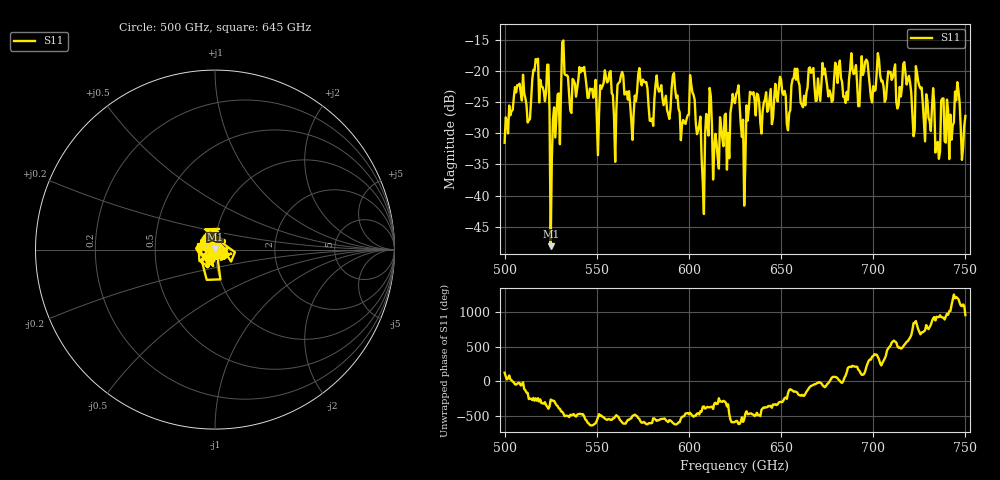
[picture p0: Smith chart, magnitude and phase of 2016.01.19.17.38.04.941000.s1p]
!Created with skrf (http://scikit-rf.org).
# GHz S RI R 50.0
!freq ReS11 ImS11
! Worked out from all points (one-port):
!   401 points, 500 GHz to 750 GHz, reference 50 ohm
!   lowest |S11| = -48.1 dB at 525 GHz (marker M1), VSWR 1.01, Z = 50 + j0.392 ohm
!   |S11| at or under -10 dB: start of sweep to end of sweep
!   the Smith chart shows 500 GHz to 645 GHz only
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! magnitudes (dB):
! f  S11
! 500 GHz  -31.5
! 506.9 GHz  -22.3
! 513.1 GHz  -27.9
! 516.9 GHz  -18.1
! 523.1 GHz  -19.0
! 525 GHz  -48.1
! 531.2 GHz  -15.5
! 551.2 GHz  -26.7
! 556.2 GHz  -21.7
! 559.4 GHz  -27.5
! 562.5 GHz  -21.8
! 569.4 GHz  -31.1
! 573.8 GHz  -21.6
! 579.4 GHz  -28.0
! 593.8 GHz  -23.9
! 601.9 GHz  -23.5
! 607.5 GHz  -37.7
! 610.6 GHz  -30.4
! 614.4 GHz  -30.1
! 625 GHz  -25.2
! 629.4 GHz  -27.8
! 634.4 GHz  -23.8
! 656.2 GHz  -21.4
! 687.5 GHz  -19.7
! 718.8 GHz  -21.4
! 735 GHz  -31.4
! 745.6 GHz  -21.8
! 750 GHz  -27.2
